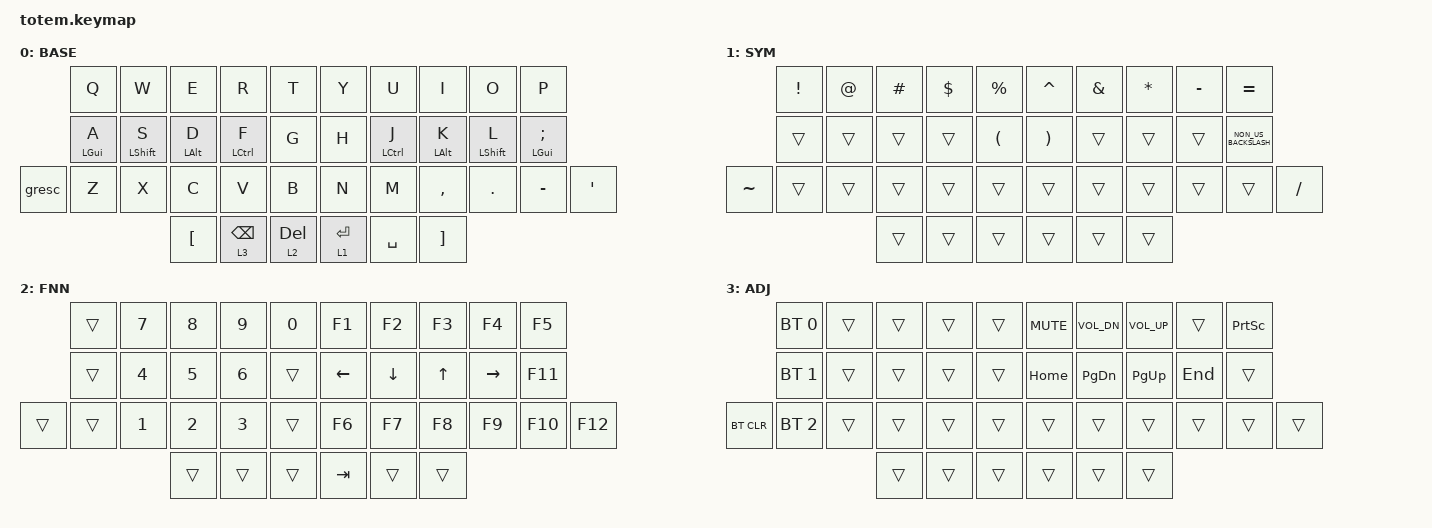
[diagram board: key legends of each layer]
//
//                                                        ▀▀▀▀▀     ▀▀▀▀▀          ▀▀█▀▀
//                                                        ▄▀▀▀▄  ▄  ▄▀▀▀▄  ▄  ▄▀▀▀▄  █  ▄▀▀▀▄
//                                                        █   █  █  █   █  █  █   █  █  █   █
//                                                         ▀▀▀   █   ▀▀▀   █   ▀▀▀   ▀   ▀▀▀
//                                                               █      ▄▄▄█▄▄▄    █   █  
//                                                               ▀      █  █  █     █▄█
//                                                             ▀▀▀▀▀    █  █  █      ▀
//                                                                      ▀  ▀  ▀
//
// ▄▄▄▄▄▄▄▄▄▄▄▄▄▄▄▄▄▄▄▄▄▄▄▄▄▄▄▄▄▄▄▄▄▄▄▄▄▄▄▄▄▄▄▄▄▄▄▄▄▄▄▄▄▄▄▄▄▄▄▄▄▄▄▄▄▄▄▄▄▄▄▄▄▄▄▄▄▄▄▄▄▄▄▄▄▄▄▄▄▄▄▄▄▄▄▄▄▄▄▄▄▄▄▄▄▄▄▄▄▄▄▄▄▄▄▄▄▄▄▄▄▄▄▄▄▄▄▄▄▄▄▄▄▄▄▄▄▄▄▄▄▄▄▄▄▄▄▄▄

#include <behaviors.dtsi>
#include <dt-bindings/zmk/bt.h>
#include <dt-bindings/zmk/keys.h>

#define BASE 0
#define NAV  1
#define SYM  2
#define ADJ  3
#define TVP1 4
#define TVP2 5

&mt {
    quick-tap-ms = <100>;
    global-quick-tap;
    flavor = "tap-preferred";
    tapping-term-ms = <200>;
};

/ {
    combos {
        compatible = "zmk,combos";

        combo_gui {
            bindings = <&tog 0>;
            key-positions = <10 19>;
        };
    };

    macros {
        gif: gif {
            label = "giphy";
            compatible = "zmk,behavior-macro";
            #binding-cells = <0>;
            bindings =
                <&macro_press>,
                <&kp LSHFT>,
                <&macro_tap>,
                <&kp N2>,
                <&macro_release>,
                <&kp LSHFT>,
                <&macro_tap>,
                <&kp G &kp I &kp F>;
        };
    };

    behaviors {
        comma_semicolon: comma_semicolon {
            compatible = "zmk,behavior-mod-morph";
            label = "COMMA_SEMICOLON";
            bindings = <&kp COMMA>, <&kp SEMICOLON>;

            #binding-cells = <0>;
            mods = <(MOD_LSFT|MOD_RSFT)>;
        };

        dot_colon: dot_colon {
            compatible = "zmk,behavior-mod-morph";
            label = "DOT_COLON";
            bindings = <&kp PERIOD>, <&kp COLON>;

            #binding-cells = <0>;
            mods = <(MOD_LSFT|MOD_RSFT)>;
        };

        slash_pipe: slash_pipe {
            compatible = "zmk,behavior-mod-morph";
            label = "SLASH_PIPE";
            bindings = <&kp SLASH>, <&kp PIPE>;

            #binding-cells = <0>;
            mods = <(MOD_LSFT|MOD_RSFT)>;
        };

        r_parent: r_parent {
            compatible = "zmk,behavior-mod-morph";
            label = "R_PARENT";
            bindings = <&kp RIGHT_BRACKET>, <&kp RIGHT_PARENTHESIS>;

            #binding-cells = <0>;
            mods = <(MOD_LCTL)>;
        };

        l_parent: l_parent {
            compatible = "zmk,behavior-mod-morph";
            label = "L_PARENT";
            bindings = <&kp LEFT_BRACKET>, <&kp LEFT_PARENTHESIS>;

            #binding-cells = <0>;
            mods = <(MOD_LCTL)>;
        };
    };

    keymap {
        compatible = "zmk,keymap";

        // ▄▄▄▄▄▄▄▄▄▄▄▄▄▄▄▄▄▄▄▄▄▄▄▄▄▄▄▄▄▄▄▄▄▄▄▄▄▄▄▄▄▄▄▄▄▄▄▄▄▄▄▄▄▄▄▄▄▄▄▄▄▄▄▄▄▄▄▄▄▄▄▄▄▄▄▄▄▄▄▄▄▄▄▄▄▄▄▄▄▄▄▄▄▄▄▄▄▄▄▄▄▄▄▄▄▄▄▄▄▄▄▄▄▄▄▄▄▄▄▄▄▄▄▄▄▄▄▄▄▄▄▄▄▄▄▄▄▄▄▄▄▄▄▄▄▄▄▄▄

        base_layer {
            // ┏━━━━━━━━━━━━━━━━━━━━━━━━━━━━━━━━━━━━━━━┓

            label = "BASE";

            // ┗━━━━━━━━━━━━━━━━━━━━━━━━━━━━━━━━━━━━━━━┛
            //             ┏━━━━━━━━━━━┳━━━━━━━━━━━┳━━━━━━━━━━━┳━━━━━━━━━━━┳━━━━━━━━━━━┓   ┏━━━━━━━━━━━┳━━━━━━━━━━━┳━━━━━━━━━━━┳━━━━━━━━━━━┳━━━━━━━━━━━┓
            //             ┃     Q     ┃     W     ┃     F     ┃     P     ┃     G     ┃   ┃     J     ┃     L     ┃     U     ┃     Y     ┃     ;     ┃
            //             ┣━━━━━━━━━━━╋━━━━━━━━━━━╋━━━━━━━━━━━╋━━━━━━━━━━━╋━━━━━━━━━━━┫   ┣━━━━━━━━━━━╋━━━━━━━━━━━╋━━━━━━━━━━━╋━━━━━━━━━━━╋━━━━━━━━━━━┫
            //             ┃     A     ┃     R     ┃     S     ┃     T     ┃     D     ┃   ┃     H     ┃     N     ┃     E     ┃     I     ┃     O     ┃
            // ┏━━━━━━━━━━━╋━━━━━━━━━━━╋━━━━━━━━━━━╋━━━━━━━━━━━╋━━━━━━━━━━━╋━━━━━━━━━━━┫   ┣━━━━━━━━━━━╋━━━━━━━━━━━╋━━━━━━━━━━━╋━━━━━━━━━━━╋━━━━━━━━━━━╋━━━━━━━━━━━┓
            // ┃     Q     ┃     Z     ┃     X     ┃     C     ┃     V     ┃     B     ┃   ┃     K     ┃     M     ┃     ,     ┃     .     ┃     /     ┃     \     ┃
            // ┗━━━━━━━━━━━┻━━━━━━━━━━━┻━━━━━━━━━━━╋━━━━━━━━━━━╋━━━━━━━━━━━╋━━━━━━━━━━━┫   ┣━━━━━━━━━━━╋━━━━━━━━━━━╋━━━━━━━━━━━╋━━━━━━━━━━━┻━━━━━━━━━━━┻━━━━━━━━━━━┛
            //                                     ┃    DEL    ┃    TAB    ┃    SPC    ┃   ┃   ENTER   ┃           ┃   BSPC    ┃
            //                                     ┗━━━━━━━━━━━┻━━━━━━━━━━━┻━━━━━━━━━━━┛   ┗━━━━━━━━━━━┻━━━━━━━━━━━┻━━━━━━━━━━━┛

            bindings = <
        &kp Q       &kp W             &kp E             &kp R            &kp T           &kp Y        &kp U        &kp I              &kp O        &kp P
        &mt LGUI A  &mt LEFT_SHIFT S  &mt LEFT_ALT D    &mt LCTRL F      &kp G           &kp H        &mt LCTRL J  &mt LEFT_ALT K     &mt LSHFT L  &mt LGUI SEMICOLON
&gresc  &kp Z       &kp X             &kp C             &kp V            &kp B           &kp N        &kp M        &kp COMMA          &kp PERIOD   &kp MINUS           &kp SQT
                                      &kp LEFT_BRACKET  &lt 3 BACKSPACE  &lt 2 DELETE    &lt 1 ENTER  &kp SPACE    &kp RIGHT_BRACKET
            >;
        };

        sym_layer {
            label = "SYM";
            bindings = <
           &kp EXCLAMATION  &kp AT_SIGN  &kp HASH  &kp DOLLAR  &kp PERCENT             &kp CARET              &kp AMPERSAND  &kp ASTERISK  &kp MINUS  &kp EQUAL
           &trans           &trans       &trans    &trans      &kp LEFT_PARENTHESIS    &kp RIGHT_PARENTHESIS  &trans         &trans        &trans     &kp NON_US_BACKSLASH
&kp TILDE  &trans           &trans       &trans    &trans      &trans                  &trans                 &trans         &trans        &trans     &trans                &kp SLASH
                                         &trans    &trans      &trans                  &trans                 &trans         &trans
            >;
        };

        fnn_layer {
            // ┏━━━━━━━━━━━━━━━━━━━━━━━━━━━━━━━━━━━━━━━┓

            label = "FNN";

            // ┗━━━━━━━━━━━━━━━━━━━━━━━━━━━━━━━━━━━━━━━┛
            //             ┏━━━━━━━━━━━┳━━━━━━━━━━━┳━━━━━━━━━━━┳━━━━━━━━━━━┳━━━━━━━━━━━┓   ┏━━━━━━━━━━━┳━━━━━━━━━━━┳━━━━━━━━━━━┳━━━━━━━━━━━┳━━━━━━━━━━━┓
            //             ┃           ┃           ┃     UP    ┃           ┃     {     ┃   ┃     }     ┃     7     ┃     8     ┃     9     ┃     +     ┃
            //             ┣━━━━━━━━━━━╋━━━━━━━━━━━╋━━━━━━━━━━━╋━━━━━━━━━━━╋━━━━━━━━━━━┫   ┣━━━━━━━━━━━╋━━━━━━━━━━━╋━━━━━━━━━━━╋━━━━━━━━━━━╋━━━━━━━━━━━┫
            //             ┃   SHIFT   ┃   LEFT    ┃    DOWN   ┃   RIGHT   ┃     [     ┃   ┃     ]     ┃     4     ┃     5     ┃     6     ┃     -     ┃
            // ┏━━━━━━━━━━━╋━━━━━━━━━━━╋━━━━━━━━━━━╋━━━━━━━━━━━╋━━━━━━━━━━━╋━━━━━━━━━━━┫   ┣━━━━━━━━━━━╋━━━━━━━━━━━╋━━━━━━━━━━━╋━━━━━━━━━━━╋━━━━━━━━━━━╋━━━━━━━━━━━┓
            // ┃           ┃           ┃   P UP    ┃  C LOCK   ┃  P DOWN   ┃     (     ┃   ┃     )     ┃     1     ┃     2     ┃     3     ┃     *     ┃           ┃
            // ┗━━━━━━━━━━━┻━━━━━━━━━━━┻━━━━━━━━━━━╋━━━━━━━━━━━╋━━━━━━━━━━━╋━━━━━━━━━━━┫   ┣━━━━━━━━━━━╋━━━━━━━━━━━╋━━━━━━━━━━━╋━━━━━━━━━━━┻━━━━━━━━━━━┻━━━━━━━━━━━┛
            //                                     ┃           ┃    TAB    ┃    SPC    ┃   ┃    DEL    ┃     0     ┃           ┃
            //                                     ┗━━━━━━━━━━━┻━━━━━━━━━━━┻━━━━━━━━━━━┛   ┗━━━━━━━━━━━┻━━━━━━━━━━━┻━━━━━━━━━━━┛

            bindings = <
        &trans  &kp NUMBER_7  &kp NUMBER_8  &kp NUMBER_9  &kp NUMBER_0    &kp F1    &kp F2    &kp F3        &kp F4     &kp F5
        &trans  &kp NUMBER_4  &kp NUMBER_5  &kp NUMBER_6  &trans          &kp LEFT  &kp DOWN  &kp UP_ARROW  &kp RIGHT  &kp F11
&trans  &trans  &kp NUMBER_1  &kp NUMBER_2  &kp NUMBER_3  &trans          &kp F6    &kp F7    &kp F8        &kp F9     &kp F10  &kp F12
                              &trans        &trans        &trans          &kp TAB   &trans    &trans
            >;
        };

        adjust_layer {
            // ┏━━━━━━━━━━━━━━━━━━━━━━━━━━━━━━━━━━━━━━━┓

            label = "ADJ";

            // ┗━━━━━━━━━━━━━━━━━━━━━━━━━━━━━━━━━━━━━━━┛
            //             ┏━━━━━━━━━━━┳━━━━━━━━━━━┳━━━━━━━━━━━┳━━━━━━━━━━━┳━━━━━━━━━━━┓   ┏━━━━━━━━━━━┳━━━━━━━━━━━┳━━━━━━━━━━━┳━━━━━━━━━━━┳━━━━━━━━━━━┓
            //             ┃   RESET   ┃ BT CLEAR  ┃  OUT TOG  ┃           ┃           ┃   ┃           ┃    F7     ┃    F8     ┃    F9     ┃    F12    ┃
            //             ┣━━━━━━━━━━━╋━━━━━━━━━━━╋━━━━━━━━━━━╋━━━━━━━━━━━╋━━━━━━━━━━━┫   ┣━━━━━━━━━━━╋━━━━━━━━━━━╋━━━━━━━━━━━╋━━━━━━━━━━━╋━━━━━━━━━━━┫
            //             ┃ BOOTLOAD  ┃ BT NEXT   ┃           ┃           ┃           ┃   ┃           ┃    F4     ┃    F5     ┃    F6     ┃    F11    ┃
            // ┏━━━━━━━━━━━╋━━━━━━━━━━━╋━━━━━━━━━━━╋━━━━━━━━━━━╋━━━━━━━━━━━╋━━━━━━━━━━━┫   ┣━━━━━━━━━━━╋━━━━━━━━━━━╋━━━━━━━━━━━╋━━━━━━━━━━━╋━━━━━━━━━━━╋━━━━━━━━━━━┓
            // ┃           ┃           ┃ BT PREV   ┃           ┃           ┃           ┃   ┃           ┃    F1     ┃    F2     ┃    F3     ┃    F10    ┃           ┃
            // ┗━━━━━━━━━━━┻━━━━━━━━━━━┻━━━━━━━━━━━╋━━━━━━━━━━━╋━━━━━━━━━━━╋━━━━━━━━━━━┫   ┣━━━━━━━━━━━╋━━━━━━━━━━━╋━━━━━━━━━━━╋━━━━━━━━━━━┻━━━━━━━━━━━┻━━━━━━━━━━━┛
            //                                     ┃           ┃           ┃           ┃   ┃           ┃           ┃           ┃
            //                                     ┗━━━━━━━━━━━┻━━━━━━━━━━━┻━━━━━━━━━━━┛   ┗━━━━━━━━━━━┻━━━━━━━━━━━┻━━━━━━━━━━━┛

            bindings = <
            &bt BT_SEL 0  &trans  &trans  &trans  &trans    &kp K_MUTE  &kp C_VOL_DN  &kp C_VOL_UP  &trans   &kp PRINTSCREEN
            &bt BT_SEL 1  &trans  &trans  &trans  &trans    &kp HOME    &kp PG_DN     &kp PG_UP     &kp END  &trans
&bt BT_CLR  &bt BT_SEL 2  &trans  &trans  &trans  &trans    &trans      &trans        &trans        &trans   &trans           &trans
                                  &trans  &trans  &trans    &trans      &trans        &trans
            >;
        };
    };
};
